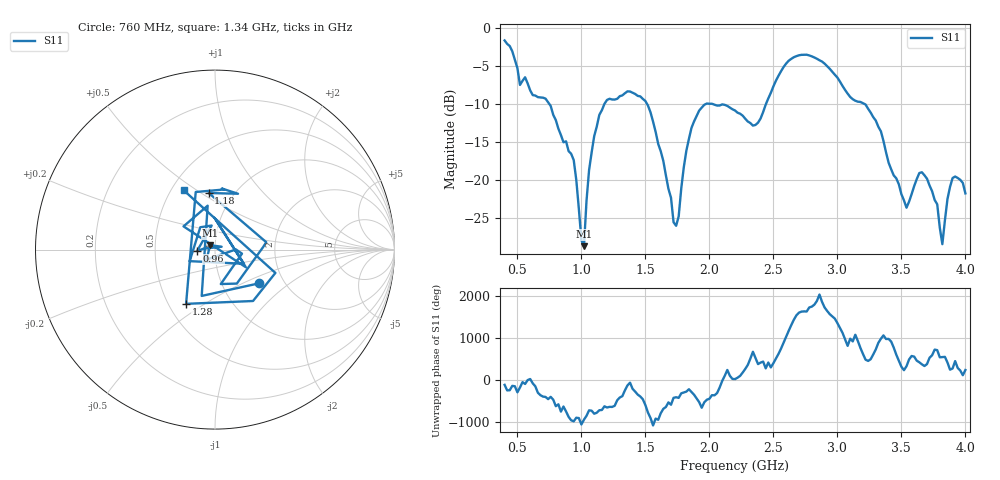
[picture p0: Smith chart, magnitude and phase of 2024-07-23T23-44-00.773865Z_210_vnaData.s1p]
!Created with skrf (http://scikit-rf.org).
# Hz S RI R 50.0
!freq ReS11 ImS11
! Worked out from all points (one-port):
!   181 points, 400 MHz to 4 GHz, reference 50 ohm
!   lowest |S11| = -28.7 dB at 1.02 GHz (marker M1), VSWR 1.08, Z = 47.3 + j2.33 ohm
!   |S11| at or under -10 dB: 749.7 MHz to 1.179 GHz (429.7 MHz wide, 44.5 % of centre); 1.513 GHz to 1.972 GHz (458.4 MHz wide, 26.3 % of centre); 3.212 GHz to end of sweep (the widest 3 of 4)
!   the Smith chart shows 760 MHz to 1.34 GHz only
!   S11 on the Smith chart (normalised r, x): 760 MHz: 1.49, -0.62; 960 MHz: 0.82, -0.01; 1.18 GHz: 0.77, +0.54; 1.28 GHz: 0.61, -0.42; 1.34 GHz: 0.58, +0.44
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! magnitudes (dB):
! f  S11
! 400 MHz  -1.6
! 520 MHz  -7.5
! 760 MHz  -10.2
! 860 MHz  -15.0
! 960 MHz  -20.0
! 1 GHz  -27.9
! 1.02 GHz  -28.7
! 1.06 GHz  -18.7
! 1.18 GHz  -10.0
! 1.28 GHz  -9.3
! 1.3 GHz  -9.0
! 1.34 GHz  -8.6
! 1.52 GHz  -10.2
! 1.72 GHz  -25.5
! 1.76 GHz  -24.8
! 1.82 GHz  -16.1
! 1.92 GHz  -10.9
! 2.2 GHz  -10.8
! 2.38 GHz  -12.4
! 2.66 GHz  -3.8
! 3.1 GHz  -9.1
! 3.3 GHz  -12.2
! 3.56 GHz  -22.8
! 3.68 GHz  -19.4
! 3.78 GHz  -23.2
! 3.82 GHz  -28.4
! 3.9 GHz  -19.7
! 4 GHz  -21.7
